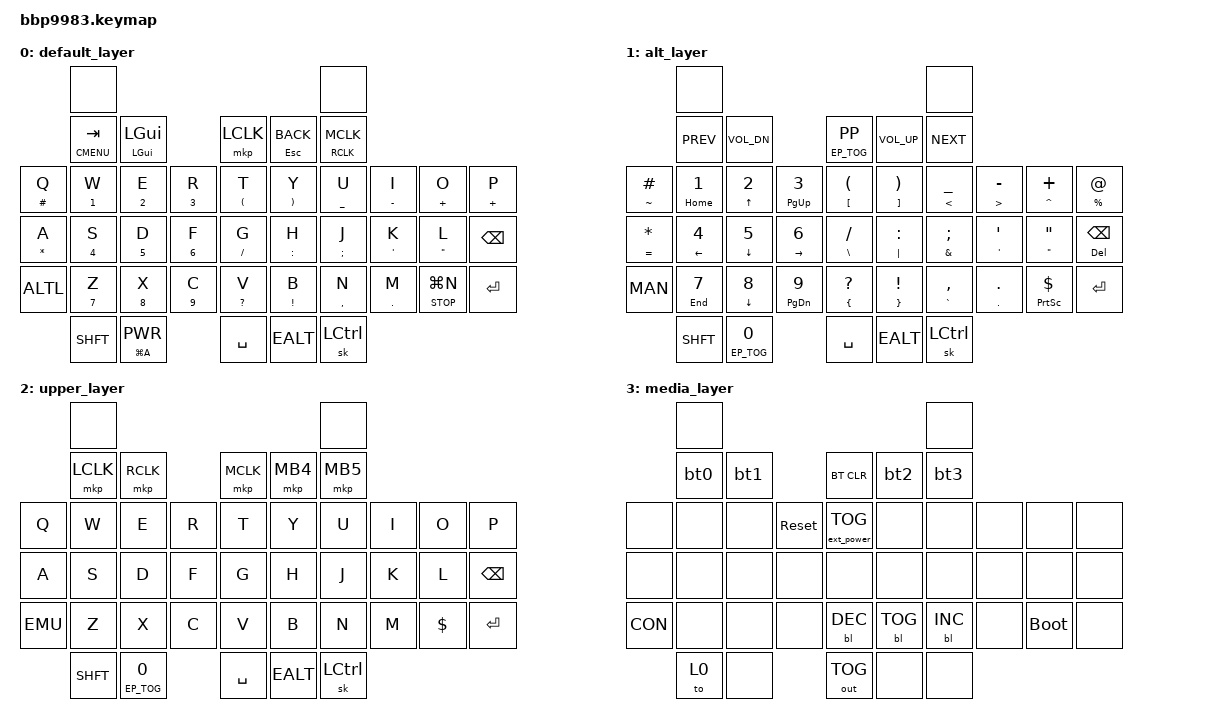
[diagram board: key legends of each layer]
/*
 * Copyright (c) 2023 ZitaoTech
 * "BlueBerry" Android Layout by Drexel Macintosh    
 * SPDX-License-Identifier: MIT
 */

#include <behaviors.dtsi>
#include <dt-bindings/zmk/keys.h>
#include <dt-bindings/zmk/bt.h>
#include <dt-bindings/zmk/outputs.h>
#include <dt-bindings/zmk/mouse.h>
#include <dt-bindings/zmk/backlight.h>
#include <dt-bindings/zmk/ext_power.h>

#define ALT 1
#define UPPER 2
#define MEDIA 3

// Standard Behavior Configurations:

&mt {
    flavor = "tap-preferred";
    tapping-term-ms = <200>;
    };

&sk{
    release-after-ms = <2500>;
    };

&sl {
    release-after-ms = <2500>;
    };

/ {

//Behaviors Start Here:

    behaviors {

// Tap Dance Behaviors

        td0: tap_dance_0 {
            compatible = "zmk,behavior-tap-dance";
            #binding-cells = <0>;
            tapping-term-ms = <300>;
            bindings = <&mkp LCLK>, <&bt BT_CLR>;
        };

        ALTL: tap_dance_1 {
            compatible = "zmk,behavior-tap-dance";
            #binding-cells = <0>;
            tapping-term-ms = <300>;
            bindings = <&sl ALT>, <&to ALT>;
        };

        SHFT: tap_dance_2 {
            compatible = "zmk,behavior-tap-dance";
            #binding-cells = <0>;
            tapping-term-ms = <300>;
            bindings = <&sk LSHFT>, <&kp CLCK>;
        };

        MED: tap_dance_3 {
            compatible = "zmk,behavior-tap-dance";
            #binding-cells = <0>;
            tapping-term-ms = <250>;
            bindings = <&to 0>, <&to MEDIA>;
        };

        MAN: tap_dance_4 {
            compatible = "zmk,behavior-tap-dance";
            #binding-cells = <0>;
            tapping-term-ms = <250>;
            bindings = <&to 0>, <&to UPPER>;
        };

        EALT: tap_dance_5 {
            compatible = "zmk,behavior-tap-dance";
            #binding-cells = <0>;
            tapping-term-ms = <300>;
            bindings = <&sk RALT>, <&kp RALT>;
        };

        ECTRL: tap_dance_6 {
            compatible = "zmk,behavior-tap-dance";
            #binding-cells = <0>;
            tapping-term-ms = <300>;
            bindings = <&sk LCTRL>, <&kp LC(SPACE)>;
        };

        EMU: tap_dance_7 {
            compatible = "zmk,behavior-tap-dance";
            #binding-cells = <0>;
            tapping-term-ms = <250>;
            bindings = <&to 0>, <&to MEDIA>;
        };

        CON: tap_dance_8 {
            compatible = "zmk,behavior-tap-dance";
            #binding-cells = <0>;
            tapping-term-ms = <250>;
            bindings = <&to 0>, <&to 0>;
        };

// Macro Behaviors

	tap: tap {
		compatible = "zmk,behavior-macro-one-param";
     		#binding-cells = <1>;
      		bindings = <&macro_param_1to1 &kp MACRO_PLACEHOLDER>;
   	 	};

	glo: globe_pseudo_mod {
           	compatible = "zmk,behavior-macro-one-param";
            	#binding-cells = <1>;
           	 bindings
                	= <&macro_press &kp GLOBE>
                	, <&macro_param_1to1>
                	, <&macro_tap &kp MACRO_PLACEHOLDER>
                	, <&macro_release &kp GLOBE>;
        	};

        bt0: bt0 {
            compatible = "zmk,behavior-macro";
            #binding-cells = <0>;
            bindings = <&bt BT_SEL 0 &bt BT_DISC 1 &bt BT_DISC 2 &bt BT_DISC 3 &bt BT_DISC 4>;
            label = "BT0";
        };

        bt1: bt1 {
            compatible = "zmk,behavior-macro";
            #binding-cells = <0>;
            bindings = <&bt BT_SEL 1 &bt BT_DISC 0 &bt BT_DISC 2 &bt BT_DISC 3 &bt BT_DISC 4>;
            label = "BT1";
        };

        bt2: bt2 {
            compatible = "zmk,behavior-macro";
            #binding-cells = <0>;
            bindings = <&bt BT_SEL 2 &bt BT_DISC 0 &bt BT_DISC 1 &bt BT_DISC 3 &bt BT_DISC 4>;
            label = "BT2";
        };

        bt3: bt3 {
            compatible = "zmk,behavior-macro";
            #binding-cells = <0>;
            bindings = <&bt BT_SEL 3 &bt BT_DISC 0 &bt BT_DISC 1 &bt BT_DISC 2 &bt BT_DISC 4>;
            label = "BT3";
        };

// Hold Tap Behaviors

	KPM: behavior_KPM {
            compatible = "zmk,behavior-hold-tap";
            label = "KPM";
            #binding-cells = <2>;
            flavor = "tap-preferred";
            tapping-term-ms = <400>;
            bindings = <&msc>, <&kp>;
        };

        hm: homerow_mods {
            compatible = "zmk,behavior-hold-tap";
            #binding-cells = <2>;
            tapping-term-ms = <500>;
            bindings = <&out &kp>;
        };

        hm2: homerow_mods_2 {
            compatible = "zmk,behavior-hold-tap";
            #binding-cells = <2>;
            tapping-term-ms = <500>;
            bindings = <&ext_power &kp>;
        };

  	mtt: mod_tap_tap {
		compatible = "zmk,behavior-hold-tap";
		#binding-cells = <2>;
	     	flavor = "tap-preferred";
	      	tapping-term-ms = <200>;
	      	quick-tap-ms = <125>;
	      	require-prior-idle-ms = <125>;
	      	bindings = <&tap>, <&tap>;
   	 };

	msk: mod_Stick_Pre {
	      compatible = "zmk,behavior-hold-tap";
	      #binding-cells = <2>;
	      flavor = "tap-preferred";
	      tapping-term-ms = <200>;
	      quick-tap-ms = <125>;
	      require-prior-idle-ms = <125>;
	      bindings = <&sk>, <&kp>;
   	 };

	alt_to: behavior_alt_to {
            compatible = "zmk,behavior-hold-tap";
            label = "alt_to";
            #binding-cells = <2>;
            flavor = "tap-preferred";
            tapping-term-ms = <300>;
            bindings = <&kp>, <&to>;
        };

	glb: mod_tap_glo {
	      compatible = "zmk,behavior-hold-tap";
	      #binding-cells = <2>;
	      flavor = "tap-preferred";
	      tapping-term-ms = <200>;
	      quick-tap-ms = <125>;
	      require-prior-idle-ms = <125>;
	      bindings = <&kp>, <&glo>;
	};

        mou: mod_mouse {
            compatible = "zmk,behavior-hold-tap";
            #binding-cells = <2>;
            flavor = "tap-preferred";
            tapping-term-ms = <200>;
            quick-tap-ms = <125>;
            require-prior-idle-ms = <125>;
            bindings = <&mkp >, <&mkp >;
        };

//End Behvaiors here
    };

    keymap {
        compatible = "zmk,keymap";
        default_layer {
            bindings = <

        /*
         *    KEYBOARD LAYOUT - ASCII by KyleBing
         *
                              ---------------------                                                                -------------------------
                             |    Shoulder Key1    |                                                              |      Shoulder Key2      |
                 ---------------------------------------------------------------------------------------------------------------------------------------------------
                |        Call key        |   Blackberry Key    |              Trackpad            |             Back Key           |          Endcall Key           |
                -----------------------------------------------------------------------------------------------------------------------------------------------------
                |     Q      |     W     |     E    |     R    |         T       |       Y        |        U       |       I       |        O        |      P       |
                -----------------------------------------------------------------------------------------------------------------------------------------------------
                |     A      |     S     |     D    |     F    |         G       |       H        |        J       |       K       |        L        |      ←       |
                -----------------------------------------------------------------------------------------------------------------------------------------------------
                 \    alt    |     Z     |     X    |     C    |         V       |       B        |        N       |       M       |        $        |    Enter    /
                   -----------------------------------------------------------------------------------------------------------------------------------------------
                              \      aA        |       0        |                    SPACE                  |          SYM          |         aA    /
                                -------------------------------------------------------------------------------------------------------------------
        */
                 		&none                                                                                	&none

		            &mtt  K_CMENU TAB		 &msk LGUI LGUI		      &mkp LCLK			&mtt ESC K_BACK		 &mou RCLK MCLK

    &mt HASH Q      &mt N1 W          &mt N2 E        &mt N3 R        &mt LEFT_PARENTHESIS T  &mt RIGHT_PARENTHESIS Y    &mt UNDER U      &mt MINUS I         &mt PLUS O           &mt PLUS P
    &mt ASTERISK A  &mt N4 S          &mt N5 D        &mt N6 F        &mt SLASH G             &mt COLON H                &mt SEMICOLON J  &mt SINGLE_QUOTE K  &mt DOUBLE_QUOTES L  &kp BSPC
    &ALTL           &mt N7 Z          &mt N8 X        &mt N9 C        &mt QUESTION V          &mt EXCLAMATION B          &mt COMMA N      &mt PERIOD M        &mtt K_STOP LG(N)    &kp ENTER

    		         &SHFT				 &mtt LG(A) K_PWR	      &kp SPACE			&EALT		 &sk LCTRL

            >;
        };


        alt_layer {

            bindings = <        
                		&none                                                                           	 &none

    	         	&kp K_PREV			&kp K_VOL_DN	        &hm2 EP_TOG K_PP		&kp K_VOL_UP	&kp K_NEXT

    &mtt TILDE HASH	   	&mtt HOME N1	   &mtt UP	N2	   &mtt PG_UP   N3	   &mtt LBKT LPAR	&mtt RBKT RPAR	   &mtt LT UNDER     &mtt GT MINUS	 &mtt CARET PLUS	&mtt PERCENT AT
    &mtt EQUAL STAR		&mtt LEFT N4	   &mtt DOWN	N5	   &mtt RIGHT	N6	   &mtt BSLH SLASH	&mtt PIPE COLON	   &mtt AMPS SEMI    &mtt APOS APOS	 &mtt DQT DQT     	&mtt DEL BSPC
    &MAN	      	     	&mtt END N7	   &mtt DOWN	N8	   &mtt PG_DN	N9	   &mtt LBRC QMARK	&mtt RBRC EXCL	   &mtt GRAVE COMMA  &mtt DOT DOT	 &mtt PSCRN DLLR 	&kp ENTER
	
    		         &SHFT				 &hm2 EP_TOG N0 		&kp SPACE			&EALT				 &sk LCTRL


            >;
        };

        upper_layer {

            bindings = <      

		&none													&none
 
    		&mkp LCLK			&mkp RCLK			&mkp MCLK				&mkp MB4				&mkp MB5  

    &kp Q		&kp W     	&kp E    	&kp R	  	  	&kp T			&kp Y		&kp U	    	&kp I	 	 &kp O		&kp P
    &kp A	     	&kp S   	&kp D      	&kp F	 		&kp G		     	&kp H	      	&kp J       	&kp K       	 &kp L		&kp BSPC
    &EMU	 	&kp Z     	&kp X     	&kp C    		&kp V	     		&kp B		&kp N        	&kp M       	 &kp DLLR	&kp ENTER
	
    		&SHFT				 &hm2 EP_TOG N0			&kp SPACE				&EALT				&sk LCTRL
            >;
        };

        media_layer {

            bindings = <        

		&none													&none

    		&bt0            	 &bt1                 &bt BT_CLR                &bt2             &bt3

    &none       	&none   	&none     	&sys_reset	&ext_power EP_TOG	   &none         	&none	           &none           &none      	   &none
    &none   		&none	  	&none	 	&none     	&none	          	   &none     	 	&none	           &none	   &none      	   &none
    &CON  		&none    	&none    	&none		&bl BL_DEC       	   &bl BL_TOG   	&bl BL_INC         &none           &bootloader     &none

    		&to  0               		 &none	               	      &out OUT_TOG              &none                    &none
            >;
        };
    };
};
